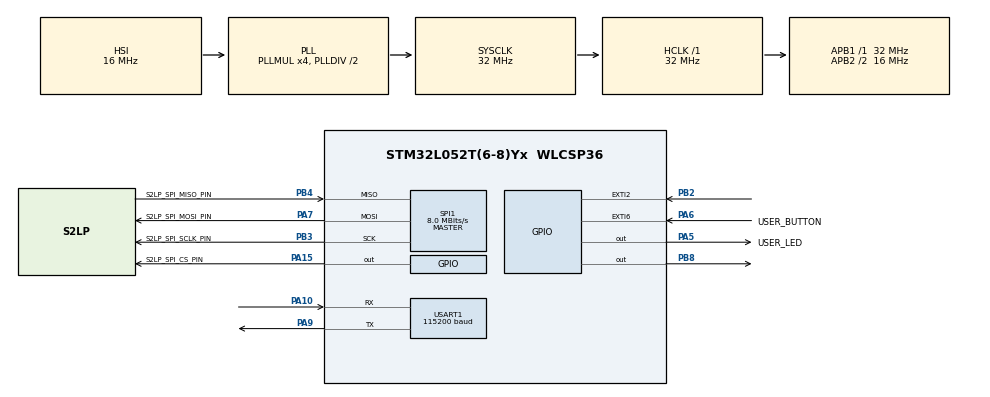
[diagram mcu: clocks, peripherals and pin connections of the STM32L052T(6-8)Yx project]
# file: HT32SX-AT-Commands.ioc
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ADC.ClockPrescaler=ADC_CLOCK_ASYNC_DIV1
ADC.SamplingTime=ADC_SAMPLETIME_1CYCLE_5
CRC.DefaultInitValueUse=DEFAULT_INIT_VALUE_DISABLE
CRC.DefaultPolynomialUse=DEFAULT_POLYNOMIAL_DISABLE
CRC.InitValue=0xFFFFFFFF
CRC.InputDataInversionMode=CRC_INPUTDATA_INVERSION_BYTE
CRC.OutputDataInversionMode=CRC_OUTPUTDATA_INVERSION_ENABLE
Dma.Request0=SPI1_TX
Dma.Request1=SPI1_RX
Dma.SPI1_RX.1.Direction=DMA_PERIPH_TO_MEMORY
Dma.SPI1_RX.1.Instance=DMA1_Channel2
Dma.SPI1_RX.1.MemDataAlignment=DMA_MDATAALIGN_BYTE
Dma.SPI1_RX.1.MemInc=DMA_MINC_ENABLE
Dma.SPI1_RX.1.Mode=DMA_NORMAL
Dma.SPI1_RX.1.PeriphDataAlignment=DMA_PDATAALIGN_BYTE
Dma.SPI1_RX.1.PeriphInc=DMA_PINC_DISABLE
Dma.SPI1_RX.1.Priority=DMA_PRIORITY_HIGH
Dma.SPI1_TX.0.Direction=DMA_MEMORY_TO_PERIPH
Dma.SPI1_TX.0.Instance=DMA1_Channel3
Dma.SPI1_TX.0.MemDataAlignment=DMA_MDATAALIGN_BYTE
Dma.SPI1_TX.0.MemInc=DMA_MINC_ENABLE
Dma.SPI1_TX.0.Mode=DMA_NORMAL
Dma.SPI1_TX.0.PeriphDataAlignment=DMA_PDATAALIGN_BYTE
Dma.SPI1_TX.0.PeriphInc=DMA_PINC_DISABLE
Dma.SPI1_TX.0.Priority=DMA_PRIORITY_HIGH
Mcu.Family=STM32L0
Mcu.Name=STM32L052T(6-8)Yx
Mcu.Package=WLCSP36
NVIC.DMA1_Channel2_3_IRQn=true\:2\:0\:true\:false\:true\:false\:true
NVIC.EXTI2_3_IRQn=true\:1\:0\:true\:false\:true\:true\:true
NVIC.EXTI4_15_IRQn=true\:2\:0\:true\:false\:true\:true\:true
NVIC.RTC_IRQn=true\:2\:0\:true\:false\:true\:true\:true
NVIC.TIM21_IRQn=true\:0\:0\:false\:false\:true\:true\:true
NVIC.TIM22_IRQn=true\:0\:0\:false\:false\:true\:true\:true
NVIC.USART1_IRQn=true\:0\:0\:true\:false\:true\:true\:true
PA0.Mode=SYS_WakeUp0
PA0.Signal=SYS_WKUP1
PA10.Mode=Asynchronous
PA10.Signal=USART1_RX
PA13.Mode=Serial_Wire
PA13.Signal=SYS_SWDIO
PA14.Mode=Serial_Wire
PA14.Signal=SYS_SWCLK
PA15.GPIO_Label=S2LP_SPI_CS_PIN
PA15.GPIO_PuPd=GPIO_PULLUP
PA15.GPIO_Speed=GPIO_SPEED_FREQ_HIGH
PA15.PinState=GPIO_PIN_SET
PA15.Signal=GPIO_Output
PA5.GPIO_Label=USER_LED
PA5.GPIO_Speed=GPIO_SPEED_FREQ_HIGH
PA5.Signal=GPIO_Output
PA6.GPIO_Label=USER_BUTTON
PA6.GPIO_ModeDefaultEXTI=GPIO_MODE_IT_FALLING
PA6.GPIO_PuPd=GPIO_PULLUP
PA6.Signal=GPXTI6
PA7.GPIO_Label=S2LP_SPI_MOSI_PIN
PA7.GPIO_PuPd=GPIO_PULLUP
PA7.GPIO_Speed=GPIO_SPEED_FREQ_HIGH
PA7.Mode=Full_Duplex_Master
PA7.Signal=SPI1_MOSI
PA9.Mode=Asynchronous
PA9.Signal=USART1_TX
PB2.GPIO_ModeDefaultEXTI=GPIO_MODE_IT_FALLING
PB2.Signal=GPXTI2
PB3.GPIO_Label=S2LP_SPI_SCLK_PIN
PB3.GPIO_PuPd=GPIO_PULLUP
PB3.GPIO_Speed=GPIO_SPEED_FREQ_HIGH
PB3.Mode=Full_Duplex_Master
PB3.Signal=SPI1_SCK
PB4.GPIO_Label=S2LP_SPI_MISO_PIN
PB4.GPIO_PuPd=GPIO_PULLUP
PB4.GPIO_Speed=GPIO_SPEED_FREQ_HIGH
PB4.Mode=Full_Duplex_Master
PB4.Signal=SPI1_MISO
PB8.GPIO_Speed=GPIO_SPEED_FREQ_HIGH
PB8.Signal=GPIO_Output
ProjectManager.HeapSize=0x200
ProjectManager.StackSize=0x400
ProjectManager.TargetToolchain=STM32CubeIDE
RCC.AHBFreq_Value=32000000
RCC.APB1Freq_Value=32000000
RCC.APB1TimFreq_Value=32000000
RCC.APB2CLKDivider=RCC_HCLK_DIV2
RCC.APB2Freq_Value=16000000
RCC.APB2TimFreq_Value=32000000
RCC.HCLKFreq_Value=32000000
RCC.HSI16_VALUE=16000000
RCC.HSI48_VALUE=48000000
RCC.HSI_VALUE=16000000
RCC.LSE_VALUE=32768
RCC.MSI_VALUE=2097000
RCC.PLLMUL=RCC_PLLMUL_4
RCC.SYSCLKFreq_VALUE=32000000
RCC.SYSCLKSource=RCC_SYSCLKSOURCE_PLLCLK
RCC.VCOOutputFreq_Value=64000000
RTC.WakeUpCounter=1000
SPI1.CalculateBaudRate=8.0 MBits/s
SPI1.Direction=SPI_DIRECTION_2LINES
SPI1.Mode=SPI_MODE_MASTER
SPI1.VirtualType=VM_MASTER
TIM21.Period=50-1
TIM21.Prescaler=32000-1
TIM22.Period=500-1
TIM22.Prescaler=32000-1
USART1.BaudRate=115200
USART1.VirtualMode-Asynchronous=VM_ASYNC
VP_ADC_TempSens_Input.Mode=IN-TempSens
VP_ADC_Vref_Input.Mode=IN-Vrefint
VP_CRC_VS_CRC.Mode=CRC_Activate
VP_RTC_VS_RTC_Activate.Mode=RTC_Enabled
VP_RTC_VS_RTC_Calendar.Mode=RTC_Calendar
VP_RTC_VS_RTC_WakeUp_intern.Mode=WakeUp
VP_TIM21_VS_ClockSourceINT.Mode=Internal
VP_TIM22_VS_ClockSourceINT.Mode=Internal
VP_TIM2_VS_ClockSourceINT.Mode=Internal
board=custom

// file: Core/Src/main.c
/* USER CODE BEGIN Header */
/**
 ******************************************************************************
 * @file           : main.c
 * @brief          : Main program body
 ******************************************************************************
 * @attention
 *
 * <h2><center>&copy; Copyright (c) 2019 STMicroelectronics.
 * All rights reserved.</center></h2>
 *
 * This software component is licensed by ST under BSD 3-Clause license,
 * the "License"; You may not use this file except in compliance with the
 * License. You may obtain a copy of the License at:
 *                        opensource.org/licenses/BSD-3-Clause
 *
 ******************************************************************************
 */
/* USER CODE END Header */
#include "main.h"
#include "adc.h"
#include "crc.h"
#include "dma.h"
#include "rtc.h"
#include "spi.h"
#include "tim.h"
#include "usart.h"
#include "gpio.h"

/* USER CODE BEGIN Includes */
#include "HT_at_fsm.h"
/* USER CODE END Includes */

/* USER CODE BEGIN PV */
extern NVM_BoardDataType sfx_credentials;
/* USER CODE END PV */

void SystemClock_Config(void);

int main(void)
{

  /* MCU Configuration--------------------------------------------------------*/

  /* Reset of all peripherals, Initializes the Flash interface and the Systick. */
  HAL_Init();

  /* Configure the system clock */
  SystemClock_Config();

  /* Initialize all configured peripherals */
  MX_GPIO_Init();
  MX_DMA_Init();
  MX_RTC_Init();
  MX_SPI1_Init();
  MX_USART1_UART_Init();
  MX_ADC_Init();
  MX_TIM2_Init();
  MX_TIM21_Init();
  MX_CRC_Init();
  MX_TIM22_Init();
  /* USER CODE BEGIN 2 */

	mcuConfig();

  /* USER CODE END 2 */

  /* Infinite loop */
	while (1)
	{

    /* USER CODE BEGIN 3 */

		HT_AT_Fsm();

	}
  /* USER CODE END 3 */
}

void SystemClock_Config(void)
{
  RCC_OscInitTypeDef RCC_OscInitStruct = {0};
  RCC_ClkInitTypeDef RCC_ClkInitStruct = {0};
  RCC_PeriphCLKInitTypeDef PeriphClkInit = {0};

  /** Configure the main internal regulator output voltage
  */
  __HAL_PWR_VOLTAGESCALING_CONFIG(PWR_REGULATOR_VOLTAGE_SCALE1);
  /** Initializes the RCC Oscillators according to the specified parameters
  * in the RCC_OscInitTypeDef structure.
  */
  RCC_OscInitStruct.OscillatorType = RCC_OSCILLATORTYPE_HSI|RCC_OSCILLATORTYPE_LSI;
  RCC_OscInitStruct.HSIState = RCC_HSI_ON;
  RCC_OscInitStruct.HSICalibrationValue = RCC_HSICALIBRATION_DEFAULT;
  RCC_OscInitStruct.LSIState = RCC_LSI_ON;
  RCC_OscInitStruct.PLL.PLLState = RCC_PLL_ON;
  RCC_OscInitStruct.PLL.PLLSource = RCC_PLLSOURCE_HSI;
  RCC_OscInitStruct.PLL.PLLMUL = RCC_PLLMUL_4;
  RCC_OscInitStruct.PLL.PLLDIV = RCC_PLLDIV_2;
  if (HAL_RCC_OscConfig(&RCC_OscInitStruct) != HAL_OK)
  {
    Error_Handler();
  }
  /** Initializes the CPU, AHB and APB buses clocks
  */
  RCC_ClkInitStruct.ClockType = RCC_CLOCKTYPE_HCLK|RCC_CLOCKTYPE_SYSCLK
                              |RCC_CLOCKTYPE_PCLK1|RCC_CLOCKTYPE_PCLK2;
  RCC_ClkInitStruct.SYSCLKSource = RCC_SYSCLKSOURCE_PLLCLK;
  RCC_ClkInitStruct.AHBCLKDivider = RCC_SYSCLK_DIV1;
  RCC_ClkInitStruct.APB1CLKDivider = RCC_HCLK_DIV1;
  RCC_ClkInitStruct.APB2CLKDivider = RCC_HCLK_DIV2;

  if (HAL_RCC_ClockConfig(&RCC_ClkInitStruct, FLASH_LATENCY_1) != HAL_OK)
  {
    Error_Handler();
  }
  PeriphClkInit.PeriphClockSelection = RCC_PERIPHCLK_USART1|RCC_PERIPHCLK_RTC;
  PeriphClkInit.Usart1ClockSelection = RCC_USART1CLKSOURCE_PCLK2;
  PeriphClkInit.RTCClockSelection = RCC_RTCCLKSOURCE_LSI;
  if (HAL_RCCEx_PeriphCLKConfig(&PeriphClkInit) != HAL_OK)
  {
    Error_Handler();
  }
}

/* USER CODE BEGIN 4 */

void mcuConfig(void) {

	ST_SFX_ERR stSfxRetErr;
	char init_str[] = {"HT32SX\n"};

	ST_Init();

	NVM_BoardDataType sfxConfiguration;
	stSfxRetErr = ST_Sigfox_Init(&sfxConfiguration, 0);
	memcpy((uint8_t *)&sfx_credentials, (uint8_t *)&sfxConfiguration, sizeof(NVM_BoardDataType));

	if(stSfxRetErr != ST_SFX_ERR_NONE) {
		if(stSfxRetErr == ST_SFX_ERR_CREDENTIALS) {
			sfxConfiguration.id = 0;
			memset(sfxConfiguration.pac, 0x00, 8);
			sfxConfiguration.rcz = 0;

		}
	}

	/* Calibrate RTC in case of STM32*/
	ST_MCU_API_TimerCalibration(500);

	ST_RF_API_set_xtal_freq(50000000);
	ST_RF_API_set_freq_offset(sfxConfiguration.freqOffset);
	ST_RF_API_set_rssi_offset(sfxConfiguration.rssiOffset);
	ST_RF_API_set_lbt_thr_offset(sfxConfiguration.lbtOffset);

	HAL_UART_Transmit(&huart1, (uint8_t *)init_str, strlen(init_str), 100);
}

void ST_Init(void) {
	/* Put the radio off */
	S2LPShutdownInit();
	HAL_Delay(10);
	S2LPShutdownExit();

	/* FEM Initialization */
	FEM_Init();
}

/* USER CODE END 4 */

void Error_Handler(void)
{
}

/************************ (C) COPYRIGHT STMicroelectronics *****END OF FILE****/
